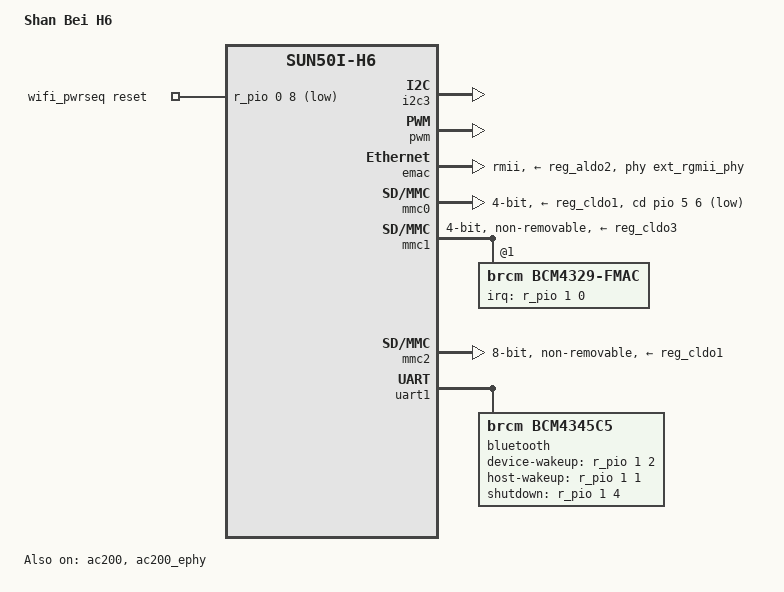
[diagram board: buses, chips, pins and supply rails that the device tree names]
// SPDX-License-Identifier: (GPL-2.0+)
/*
 * Copyright (C) 2021 ChalesYu <574249312@qq.com>
 */

#include "sun50i-h6-beelink-gs1.dts"

/ {
	model = "Shan Bei H6";
	compatible = "azw,beelink-gs1", "allwinner,sun50i-h6";

/* copy from Orange Pi Lite2 dts */
	wifi_pwrseq: wifi-pwrseq {
		compatible = "mmc-pwrseq-simple";
		clocks = <&rtc 1>;
		clock-names = "ext_clock";
		reset-gpios = <&r_pio 0 8 GPIO_ACTIVE_LOW>; /* PL8 */
		post-power-on-delay-ms = <200>;
	};

};

//pio for i2c3 and ac200 , emac power
&reg_aldo2 {
//tanix tx6 don't have PMU
//use this ugly solution
	regulator-always-on;
};

//from orange pi dtsi
&pio {
	vcc-pc-supply = <&reg_bldo2>;
	vcc-pd-supply = <&reg_cldo1>;
	vcc-pg-supply = <&reg_aldo1>;
};

//i2c3
&i2c3_pins {
	drive-strength = <20>;
	bias-pull-up;
};
&i2c3 {
	status = "okay";
};

//AC200
&pwm {
	status = "okay";
};

&ac200_pwm_clk {
	status = "okay";

};

&ac200 {
	interrupt-parent = <&pio>;
	interrupts = <1 20 IRQ_TYPE_LEVEL_LOW>; //PB20 for H6
	interrupt-controller;
	interrupt-cells = <1>;
	clocks = <&ac200_pwm_clk>;
	status = "okay";
};

&ac200_ephy {
	clocks = <&ac200_pwm_clk>;
	status = "okay";
};

//board using ac200-ephy but not rtl8211
&emac {
	pinctrl-names = "default";
	pinctrl-0 = <&ext_rmii_pins>;
	phy-mode = "rmii";
	phy-handle = <&ext_rgmii_phy>;
	phy-supply = <&reg_aldo2>;
	allwinner,rx-delay-ps = <200>;
	allwinner,tx-delay-ps = <200>;
	status = "okay";
};

// MMC devices
/* sdcard */
&mmc0 {
	vmmc-supply = <&reg_cldo1>;
	cd-gpios = <&pio 5 6 GPIO_ACTIVE_LOW>; /* PF6 */
	bus-width = <4>;
	status = "okay";
};

/* SDIO WiFi */
&mmc1 {
	vmmc-supply = <&reg_cldo3>;
	vqmmc-supply = <&reg_bldo3>;
	mmc-pwrseq = <&wifi_pwrseq>;
	bus-width = <4>;
	non-removable;
	status = "okay";

	/* copy from Orange Pi Lite2 dts */
	brcm: sdio-wifi@1 {
		reg = <1>;
		compatible = "brcm,bcm4329-fmac";
		interrupt-parent = <&r_pio>;
		interrupts = <1 0 IRQ_TYPE_LEVEL_LOW>; /* PM0 */
		interrupt-names = "host-wake";
	};

};

/* eMMC */
&mmc2 {
	vmmc-supply = <&reg_cldo1>;
	vqmmc-supply = <&reg_bldo2>;
	max-frequency = <150000000>;
	mmc-ddr-1_8v;
	mmc-hs200-1_8v;
	mmc-hs400-1_8v;
	cap-mmc-hw-reset;
	non-removable;
	bus-width = <8>;
	status = "okay";
};

/* copy from Orange Pi Lite2 dts */
/* There's the BT part of the AP6255 connected to that UART */
&uart1 {
	pinctrl-names = "default";
	pinctrl-0 = <&uart1_pins>, <&uart1_rts_cts_pins>;
	uart-has-rtscts;
	status = "okay";

	bluetooth {
		compatible = "brcm,bcm4345c5";
		clocks = <&rtc 1>;
		clock-names = "lpo";
		device-wakeup-gpios = <&r_pio 1 2 GPIO_ACTIVE_HIGH>; /* PM2 */
		host-wakeup-gpios = <&r_pio 1 1 GPIO_ACTIVE_HIGH>; /* PM1 */
		shutdown-gpios = <&r_pio 1 4 GPIO_ACTIVE_HIGH>; /* PM4 */
		max-speed = <1500000>;
	};
};

